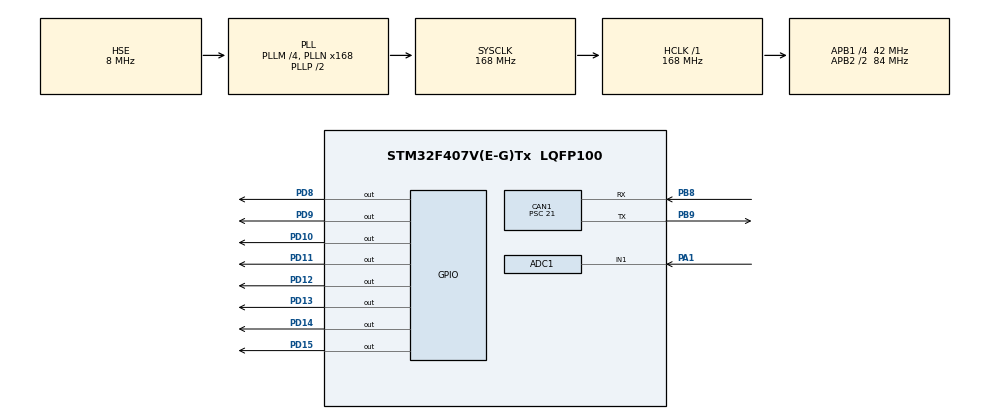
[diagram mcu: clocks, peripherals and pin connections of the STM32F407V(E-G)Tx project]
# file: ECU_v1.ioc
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ADC1.Channel-0\#ChannelRegularConversion=ADC_CHANNEL_1
ADC1.ContinuousConvMode=ENABLE
ADC1.DMAContinuousRequests=ENABLE
ADC1.NbrOfConversion=1
ADC1.NbrOfConversionFlag=1
ADC1.Rank-0\#ChannelRegularConversion=1
ADC1.SamplingTime-0\#ChannelRegularConversion=ADC_SAMPLETIME_480CYCLES
ADC1.ScanConvMode=ENABLE
ADC1.master=1
CAN1.ABOM=ENABLE
CAN1.AWUM=ENABLE
CAN1.BS1=CAN_BS1_2TQ
CAN1.CalculateBaudRate=500000
CAN1.CalculateTimeBit=2000
CAN1.CalculateTimeQuantum=500.0
CAN1.NART=ENABLE
CAN1.Prescaler=21
CAN1.TXFP=ENABLE
Dma.ADC1.0.Direction=DMA_PERIPH_TO_MEMORY
Dma.ADC1.0.FIFOMode=DMA_FIFOMODE_DISABLE
Dma.ADC1.0.Instance=DMA2_Stream0
Dma.ADC1.0.MemDataAlignment=DMA_MDATAALIGN_WORD
Dma.ADC1.0.MemInc=DMA_MINC_ENABLE
Dma.ADC1.0.Mode=DMA_CIRCULAR
Dma.ADC1.0.PeriphDataAlignment=DMA_PDATAALIGN_WORD
Dma.ADC1.0.PeriphInc=DMA_PINC_DISABLE
Dma.ADC1.0.Priority=DMA_PRIORITY_LOW
Dma.Request0=ADC1
Mcu.Family=STM32F4
Mcu.Name=STM32F407V(E-G)Tx
Mcu.Package=LQFP100
NVIC.ADC_IRQn=true\:0\:0\:false\:false\:true\:true\:true\:true
NVIC.CAN1_RX1_IRQn=true\:0\:0\:false\:false\:true\:true\:true\:true
NVIC.DMA2_Stream0_IRQn=true\:0\:0\:false\:false\:true\:false\:true\:true
NVIC.PriorityGroup=NVIC_PRIORITYGROUP_0
NVIC.TIM3_IRQn=true\:0\:0\:false\:false\:true\:true\:true\:true
PA1.Signal=ADCx_IN1
PB8.GPIO_PuPd=GPIO_PULLUP
PB8.Mode=CAN_Activate
PB8.Signal=CAN1_RX
PB9.Mode=CAN_Activate
PB9.Signal=CAN1_TX
PD10.Signal=GPIO_Output
PD11.Signal=GPIO_Output
PD12.Signal=GPIO_Output
PD13.Signal=GPIO_Output
PD14.Signal=GPIO_Output
PD15.Signal=GPIO_Output
PD8.Signal=GPIO_Output
PD9.Signal=GPIO_Output
PH0-OSC_IN.Mode=HSE-External-Oscillator
PH0-OSC_IN.Signal=RCC_OSC_IN
PH1-OSC_OUT.Mode=HSE-External-Oscillator
PH1-OSC_OUT.Signal=RCC_OSC_OUT
ProjectManager.HeapSize=0x200
ProjectManager.StackSize=0x400
ProjectManager.TargetToolchain=STM32CubeIDE
RCC.48MHZClocksFreq_Value=48000000
RCC.AHBFreq_Value=168000000
RCC.APB1CLKDivider=RCC_HCLK_DIV4
RCC.APB1Freq_Value=42000000
RCC.APB1TimFreq_Value=84000000
RCC.APB2CLKDivider=RCC_HCLK_DIV2
RCC.APB2Freq_Value=84000000
RCC.APB2TimFreq_Value=168000000
RCC.CortexFreq_Value=168000000
RCC.HCLKFreq_Value=168000000
RCC.HSE_VALUE=8000000
RCC.HSI_VALUE=16000000
RCC.LSE_VALUE=32768
RCC.PLLM=4
RCC.PLLN=168
RCC.PLLQ=7
RCC.PLLSourceVirtual=RCC_PLLSOURCE_HSE
RCC.SYSCLKFreq_VALUE=168000000
RCC.SYSCLKSource=RCC_SYSCLKSOURCE_PLLCLK
RCC.VCOOutputFreq_Value=336000000
SH.ADCx_IN1.0=ADC1_IN1,IN1
TIM3.Period=99
TIM3.Prescaler=41999
VP_TIM3_VS_ClockSourceINT.Mode=Internal
board=STM32F407G-DISC1

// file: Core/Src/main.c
/* USER CODE BEGIN Header */
/**
  ******************************************************************************
  * @file           : main.c
  * @brief          : Main program body
  ******************************************************************************
  * @attention
  *
  * Copyright (c) 2023 STMicroelectronics.
  * All rights reserved.
  *
  * This software is licensed under terms that can be found in the LICENSE file
  * in the root directory of this software component.
  * If no LICENSE file comes with this software, it is provided AS-IS.
  *
  ******************************************************************************
  */
/* USER CODE END Header */
#include "main.h"

ADC_HandleTypeDef hadc1;
DMA_HandleTypeDef hdma_adc1;

CAN_HandleTypeDef hcan1;

TIM_HandleTypeDef htim3;

void SystemClock_Config(void);
static void MX_GPIO_Init(void);
static void MX_DMA_Init(void);
static void MX_CAN1_Init(void);
static void MX_ADC1_Init(void);
static void MX_TIM3_Init(void);

/* USER CODE BEGIN 0 */
CAN_TxHeaderTypeDef TxHeader;
CAN_RxHeaderTypeDef RxHeader;

uint8_t TxData[8];
uint8_t RxData[8];

uint32_t TxMailbox[3];

uint8_t datacheck = 0;
uint8_t mapaACT = 1;

uint8_t TC = 0; //Traction control
uint8_t LC = 0; //Launch control

volatile int buttonCTRL=0;

uint16_t ADC_value[1],ADC_buffer[1];
uint16_t rpm;

uint8_t highByte;
uint8_t lowByte;

int valor_RPM(uint16_t valor){
	return ADC_value[0] * 14000 / 4095;
}

void HAL_ADC_ConvCpltCallback(ADC_HandleTypeDef* hadc){
	if (hadc->Instance == ADC1){
		ADC_value[0] = ADC_buffer[0]; //potenciometro de 0 a 4095, rmp de 0 a 14000
	}
}

void SEND_MESSAGE(){ //Mandar una secuencia de datos u otra segun el mapa activo
	 TxHeader.DLC = 2; //Data length
	 TxHeader.IDE = CAN_ID_STD;
	 TxHeader.RTR = CAN_RTR_DATA;
	 TxHeader.StdId = 0x181; //ID

    switch (mapaACT){
    case 1:
    	TxData[0] = 0x81;
    	break;
    case 2:
    	TxData[0] = 0x82;
    	break;
    case 3:
    	TxData[0] = 0x84;
    	break;
    case 4:
    	TxData[0] = 0x88;
    	break;
    case 5:
    	TxData[0] = 0x90;
    	break;
    }

    if (TC == 0 && LC == 0){
    	TxData[1] = 0x80;
    } else if (TC == 1 && LC == 0){
    	TxData[1] = 0x81;
    } else if (TC == 0 && LC == 1){
        TxData[1] = 0x82;
    } else if (TC == 1 && LC == 1){
    	TxData[1] = 0x83;
    }

	HAL_CAN_AddTxMessage(&hcan1, &TxHeader, TxData, &TxMailbox[0]);
}

void RECEIVE_MESSAGE(){
	switch (RxData[0]){
	    case 0x01:
	    	HAL_GPIO_WritePin(GPIOD, GPIO_PIN_15, 1);
	    	HAL_GPIO_WritePin(GPIOD, GPIO_PIN_14, 0);
	    	HAL_GPIO_WritePin(GPIOD, GPIO_PIN_13, 0);
	    	HAL_GPIO_WritePin(GPIOD, GPIO_PIN_12, 0);
	    	HAL_GPIO_WritePin(GPIOD, GPIO_PIN_11, 0);
	    	mapaACT = 1;
	    	break;
	    case 0x02:
	    	HAL_GPIO_WritePin(GPIOD, GPIO_PIN_14, 1);
	    	HAL_GPIO_WritePin(GPIOD, GPIO_PIN_13, 0);
	    	mapaACT = 2;
	    	break;
	    case 0x04:
	    	HAL_GPIO_WritePin(GPIOD, GPIO_PIN_13, 1);
	    	HAL_GPIO_WritePin(GPIOD, GPIO_PIN_12, 0);
	    	mapaACT = 3;
	    	break;
	    case 0x08:
	    	HAL_GPIO_WritePin(GPIOD, GPIO_PIN_12, 1);
	    	HAL_GPIO_WritePin(GPIOD, GPIO_PIN_11, 0);
	    	mapaACT = 4;
	    	break;
	    case 0x10:
	    	HAL_GPIO_WritePin(GPIOD, GPIO_PIN_15, 1);
	    	HAL_GPIO_WritePin(GPIOD, GPIO_PIN_14, 1);
	    	HAL_GPIO_WritePin(GPIOD, GPIO_PIN_13, 1);
	    	HAL_GPIO_WritePin(GPIOD, GPIO_PIN_12, 1);
	    	HAL_GPIO_WritePin(GPIOD, GPIO_PIN_11, 1);
	    	mapaACT = 5;
	    	break;
	}

	switch (RxData[1]){
		case 0x00:
			HAL_GPIO_WritePin(GPIOD, GPIO_PIN_10, 0);
			HAL_GPIO_WritePin(GPIOD, GPIO_PIN_9, 0);
			TC = 0;
			LC = 0;
			break;
		case 0x01: //TC enabled
			HAL_GPIO_WritePin(GPIOD, GPIO_PIN_10, 1);
			HAL_GPIO_WritePin(GPIOD, GPIO_PIN_9, 0);
			TC = 1;
			LC = 0;
			break;
		case 0x02: //LC enabled
			if(mapaACT == 5){
				HAL_GPIO_WritePin(GPIOD, GPIO_PIN_10, 0);
				HAL_GPIO_WritePin(GPIOD, GPIO_PIN_9, 0);
				TC = 0;
				LC = 0;
			}else{
				HAL_GPIO_WritePin(GPIOD, GPIO_PIN_10, 0);
				HAL_GPIO_WritePin(GPIOD, GPIO_PIN_9, 1);
				TC = 0;
				LC = 1;
			}
			break;
		case 0x03: //TC y LC enabled
			if(mapaACT == 5){
				HAL_GPIO_WritePin(GPIOD, GPIO_PIN_10, 1);
				HAL_GPIO_WritePin(GPIOD, GPIO_PIN_9, 0);
				TC = 1;
				LC = 0;
			}else{
				HAL_GPIO_WritePin(GPIOD, GPIO_PIN_10, 1);
				HAL_GPIO_WritePin(GPIOD, GPIO_PIN_9, 1);
				TC = 1;
				LC = 1;
			}
			break;
	}
	SEND_MESSAGE();
}

void splitBytes(uint16_t value, uint8_t* highByte, uint8_t* lowByte) {
    *highByte = (value >> 8) & 0xFF; // Byte 0 (desplazo y me quedo con los 2 primeros bytes)
    *lowByte = value & 0xFF;         // Byte 1 (me quedo con los 2 últimos bytes)
}

void HAL_TIM_PeriodElapsedCallback(TIM_HandleTypeDef *htim){// Heartbeat
	if(htim->Instance==TIM3){
		splitBytes(rpm, &highByte, &lowByte);

		TxHeader.DLC = 2; //Data length
		TxHeader.IDE = CAN_ID_STD;
		TxHeader.RTR = CAN_RTR_DATA;
		TxHeader.StdId = 0x381; //ID (identificador del enviador)

		TxData[0] = highByte;
		TxData[1] = lowByte;

		HAL_CAN_AddTxMessage(&hcan1, &TxHeader, TxData, &TxMailbox[2]);
	}
}

void HAL_CAN_RxFifo1MsgPendingCallback(CAN_HandleTypeDef *hcan){ //Para recibir mensajes del bus //<-- REVISAR hcan o hcan1
	HAL_CAN_GetRxMessage(hcan, CAN_RX_FIFO1, &RxHeader, RxData);
	if (RxHeader.DLC == 2){
		RECEIVE_MESSAGE();
	}
	if (RxHeader.StdId == 0x702){ //Heartbeat
	    TxHeader.DLC = 1; //Data length
	    TxHeader.IDE = CAN_ID_STD;
	    TxHeader.RTR = CAN_RTR_DATA;
	    TxHeader.StdId = 0x701; //ID (identificador del enviador)

	    TxData[0] = 0x01;

	    HAL_GPIO_TogglePin(GPIOD, GPIO_PIN_8); //Heartbeat

	    HAL_CAN_AddTxMessage(&hcan1, &TxHeader, TxData, &TxMailbox[1]);
	}
}

/* USER CODE END 0 */

int main(void)
{

  /* MCU Configuration--------------------------------------------------------*/

  /* Reset of all peripherals, Initializes the Flash interface and the Systick. */
  HAL_Init();

  /* Configure the system clock */
  SystemClock_Config();

  /* Initialize all configured peripherals */
  MX_GPIO_Init();
  MX_DMA_Init();
  MX_CAN1_Init();
  MX_ADC1_Init();
  MX_TIM3_Init();
  /* USER CODE BEGIN 2 */
  HAL_CAN_Start(&hcan1);
  HAL_TIM_Base_Start_IT(&htim3);

  HAL_ADC_Start_DMA(&hadc1,(uint32_t*)ADC_buffer,1);

    //Activar la notificacion
    HAL_CAN_ActivateNotification(&hcan1, CAN_IT_RX_FIFO1_MSG_PENDING);

    //Inicialmente esta activado el mapa 1
    HAL_GPIO_WritePin(GPIOD, GPIO_PIN_15, 1);

  /* USER CODE END 2 */

  /* Infinite loop */
  while (1)
  {

    /* USER CODE BEGIN 3 */

	  rpm = valor_RPM(ADC_value[0]);

	  if (LC == 1){
		if (rpm >= 3000){
			LC = 0;
			HAL_GPIO_WritePin(GPIOD, GPIO_PIN_9, 0);
			SEND_MESSAGE();
		}
	  }
  }
  /* USER CODE END 3 */
}

void SystemClock_Config(void)
{
  RCC_OscInitTypeDef RCC_OscInitStruct = {0};
  RCC_ClkInitTypeDef RCC_ClkInitStruct = {0};

  /** Configure the main internal regulator output voltage
  */
  __HAL_RCC_PWR_CLK_ENABLE();
  __HAL_PWR_VOLTAGESCALING_CONFIG(PWR_REGULATOR_VOLTAGE_SCALE1);

  /** Initializes the RCC Oscillators according to the specified parameters
  * in the RCC_OscInitTypeDef structure.
  */
  RCC_OscInitStruct.OscillatorType = RCC_OSCILLATORTYPE_HSE;
  RCC_OscInitStruct.HSEState = RCC_HSE_ON;
  RCC_OscInitStruct.PLL.PLLState = RCC_PLL_ON;
  RCC_OscInitStruct.PLL.PLLSource = RCC_PLLSOURCE_HSE;
  RCC_OscInitStruct.PLL.PLLM = 4;
  RCC_OscInitStruct.PLL.PLLN = 168;
  RCC_OscInitStruct.PLL.PLLP = RCC_PLLP_DIV2;
  RCC_OscInitStruct.PLL.PLLQ = 7;
  if (HAL_RCC_OscConfig(&RCC_OscInitStruct) != HAL_OK)
  {
    Error_Handler();
  }

  /** Initializes the CPU, AHB and APB buses clocks
  */
  RCC_ClkInitStruct.ClockType = RCC_CLOCKTYPE_HCLK|RCC_CLOCKTYPE_SYSCLK
                              |RCC_CLOCKTYPE_PCLK1|RCC_CLOCKTYPE_PCLK2;
  RCC_ClkInitStruct.SYSCLKSource = RCC_SYSCLKSOURCE_PLLCLK;
  RCC_ClkInitStruct.AHBCLKDivider = RCC_SYSCLK_DIV1;
  RCC_ClkInitStruct.APB1CLKDivider = RCC_HCLK_DIV4;
  RCC_ClkInitStruct.APB2CLKDivider = RCC_HCLK_DIV2;

  if (HAL_RCC_ClockConfig(&RCC_ClkInitStruct, FLASH_LATENCY_5) != HAL_OK)
  {
    Error_Handler();
  }
}

static void MX_ADC1_Init(void)
{

  ADC_ChannelConfTypeDef sConfig = {0};

  /** Configure the global features of the ADC (Clock, Resolution, Data Alignment and number of conversion)
  */
  hadc1.Instance = ADC1;
  hadc1.Init.ClockPrescaler = ADC_CLOCK_SYNC_PCLK_DIV4;
  hadc1.Init.Resolution = ADC_RESOLUTION_12B;
  hadc1.Init.ScanConvMode = ENABLE;
  hadc1.Init.ContinuousConvMode = ENABLE;
  hadc1.Init.DiscontinuousConvMode = DISABLE;
  hadc1.Init.ExternalTrigConvEdge = ADC_EXTERNALTRIGCONVEDGE_NONE;
  hadc1.Init.ExternalTrigConv = ADC_SOFTWARE_START;
  hadc1.Init.DataAlign = ADC_DATAALIGN_RIGHT;
  hadc1.Init.NbrOfConversion = 1;
  hadc1.Init.DMAContinuousRequests = ENABLE;
  hadc1.Init.EOCSelection = ADC_EOC_SINGLE_CONV;
  if (HAL_ADC_Init(&hadc1) != HAL_OK)
  {
    Error_Handler();
  }

  /** Configure for the selected ADC regular channel its corresponding rank in the sequencer and its sample time.
  */
  sConfig.Channel = ADC_CHANNEL_1;
  sConfig.Rank = 1;
  sConfig.SamplingTime = ADC_SAMPLETIME_480CYCLES;
  if (HAL_ADC_ConfigChannel(&hadc1, &sConfig) != HAL_OK)
  {
    Error_Handler();
  }

}

static void MX_CAN1_Init(void)
{

  hcan1.Instance = CAN1;
  hcan1.Init.Prescaler = 21;
  hcan1.Init.Mode = CAN_MODE_NORMAL;
  hcan1.Init.SyncJumpWidth = CAN_SJW_1TQ;
  hcan1.Init.TimeSeg1 = CAN_BS1_2TQ;
  hcan1.Init.TimeSeg2 = CAN_BS2_1TQ;
  hcan1.Init.TimeTriggeredMode = DISABLE;
  hcan1.Init.AutoBusOff = ENABLE;
  hcan1.Init.AutoWakeUp = ENABLE;
  hcan1.Init.AutoRetransmission = ENABLE;
  hcan1.Init.ReceiveFifoLocked = DISABLE;
  hcan1.Init.TransmitFifoPriority = ENABLE;
  if (HAL_CAN_Init(&hcan1) != HAL_OK)
  {
    Error_Handler();
  }
  /* USER CODE BEGIN CAN1_Init 2 */
  CAN_FilterTypeDef canfilterconfig;

    canfilterconfig.FilterActivation = CAN_FILTER_ENABLE;
    canfilterconfig.FilterBank = 10; //which filter bank to use from the assigned ones
    canfilterconfig.FilterFIFOAssignment = CAN_FILTER_FIFO1;
    canfilterconfig.FilterIdHigh = 0x102<<5; //0110 0000 0000 // Lo que se compara con los ID entrantes
    canfilterconfig.FilterIdLow = 0x0000;
    canfilterconfig.FilterMaskIdHigh = 0x102<<5; //Escribo en la posicion 5 // Solo se comparan los bit del FilterID con los ID entrantes que en el FilterMask sean 1
    canfilterconfig.FilterMaskIdLow = 0x0000;
    canfilterconfig.FilterMode = CAN_FILTERMODE_IDMASK;
    canfilterconfig.FilterScale = CAN_FILTERSCALE_32BIT;
    canfilterconfig.SlaveStartFilterBank = 18;

    HAL_CAN_ConfigFilter(&hcan1, &canfilterconfig);

  /* USER CODE END CAN1_Init 2 */

}

static void MX_TIM3_Init(void)
{

  TIM_ClockConfigTypeDef sClockSourceConfig = {0};
  TIM_MasterConfigTypeDef sMasterConfig = {0};

  htim3.Instance = TIM3;
  htim3.Init.Prescaler = 41999;
  htim3.Init.CounterMode = TIM_COUNTERMODE_UP;
  htim3.Init.Period = 99;
  htim3.Init.ClockDivision = TIM_CLOCKDIVISION_DIV1;
  htim3.Init.AutoReloadPreload = TIM_AUTORELOAD_PRELOAD_DISABLE;
  if (HAL_TIM_Base_Init(&htim3) != HAL_OK)
  {
    Error_Handler();
  }
  sClockSourceConfig.ClockSource = TIM_CLOCKSOURCE_INTERNAL;
  if (HAL_TIM_ConfigClockSource(&htim3, &sClockSourceConfig) != HAL_OK)
  {
    Error_Handler();
  }
  sMasterConfig.MasterOutputTrigger = TIM_TRGO_RESET;
  sMasterConfig.MasterSlaveMode = TIM_MASTERSLAVEMODE_DISABLE;
  if (HAL_TIMEx_MasterConfigSynchronization(&htim3, &sMasterConfig) != HAL_OK)
  {
    Error_Handler();
  }

}

static void MX_DMA_Init(void)
{

  /* DMA controller clock enable */
  __HAL_RCC_DMA2_CLK_ENABLE();

  /* DMA interrupt init */
  /* DMA2_Stream0_IRQn interrupt configuration */
  HAL_NVIC_SetPriority(DMA2_Stream0_IRQn, 0, 0);
  HAL_NVIC_EnableIRQ(DMA2_Stream0_IRQn);

}

static void MX_GPIO_Init(void)
{
  GPIO_InitTypeDef GPIO_InitStruct = {0};

  /* GPIO Ports Clock Enable */
  __HAL_RCC_GPIOH_CLK_ENABLE();
  __HAL_RCC_GPIOA_CLK_ENABLE();
  __HAL_RCC_GPIOD_CLK_ENABLE();
  __HAL_RCC_GPIOB_CLK_ENABLE();

  /*Configure GPIO pin Output Level */
  HAL_GPIO_WritePin(GPIOD, GPIO_PIN_8|GPIO_PIN_9|GPIO_PIN_10|GPIO_PIN_11
                          |GPIO_PIN_12|GPIO_PIN_13|GPIO_PIN_14|GPIO_PIN_15, GPIO_PIN_RESET);

  /*Configure GPIO pins : PD8 PD9 PD10 PD11
                           PD12 PD13 PD14 PD15 */
  GPIO_InitStruct.Pin = GPIO_PIN_8|GPIO_PIN_9|GPIO_PIN_10|GPIO_PIN_11
                          |GPIO_PIN_12|GPIO_PIN_13|GPIO_PIN_14|GPIO_PIN_15;
  GPIO_InitStruct.Mode = GPIO_MODE_OUTPUT_PP;
  GPIO_InitStruct.Pull = GPIO_NOPULL;
  GPIO_InitStruct.Speed = GPIO_SPEED_FREQ_LOW;
  HAL_GPIO_Init(GPIOD, &GPIO_InitStruct);

}

void Error_Handler(void)
{
  __disable_irq();
  while (1)
  {
  }
}
